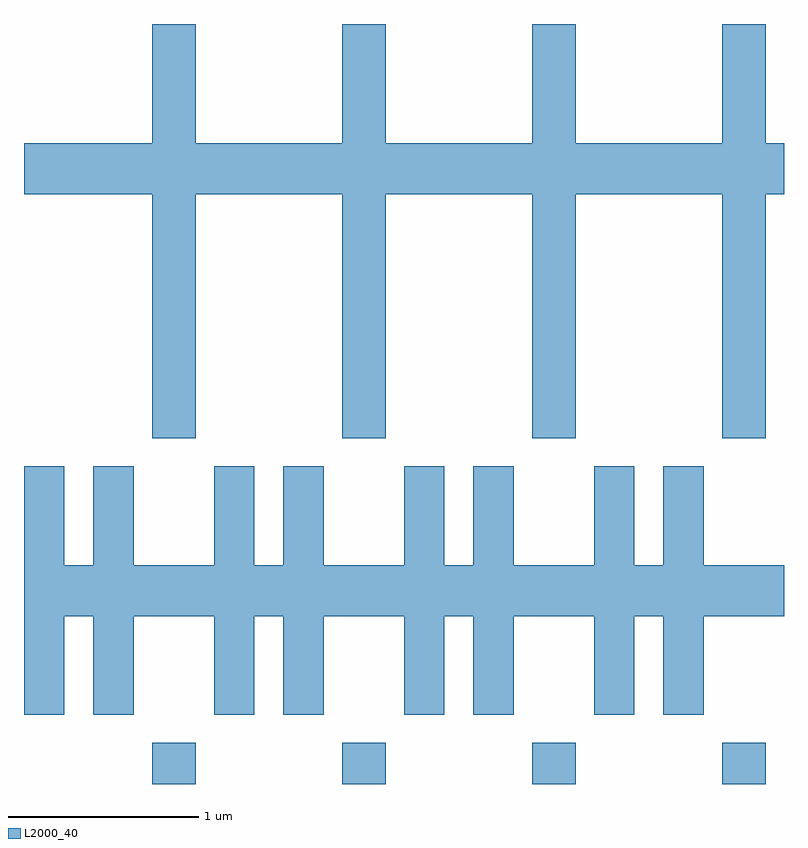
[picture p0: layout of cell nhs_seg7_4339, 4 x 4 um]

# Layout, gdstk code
import gdstk
lib = gdstk.Library(unit=1e-6, precision=1e-09)
def R(c, l, rs):  # rectangles x0, y0, x1, y1
    for r in rs: c.add(gdstk.rectangle(r[:2], r[2:], *l))
def A(c, l, x, y, w, h, nx, ny, dx, dy):  # array of equal rectangles
    R(c, l, [(x+i*dx, y+j*dy, x+i*dx+w, y+j*dy+h) for i in range(nx) for j in range(ny)])
def P(c, l, *ps):  # polygons
    for p in ps: c.add(gdstk.Polygon(p, *l))
L2000_40 = (2000, 40)

nhs_seg7_4339 = lib.new_cell('nhs_seg7_4339')
A(nhs_seg7_4339, L2000_40, 318.286, 1782.252, 0.228, 0.217, 4, 1, 1, 0)
P(nhs_seg7_4339, L2000_40, [(318.514,1785.356),(319.286,1785.356),(319.286,1784.071),(319.514,1784.071),(319.514,1785.356),(320.286,1785.356),(320.286,1784.071),(320.514,1784.071),(320.514,1785.356),(321.286,1785.356),(321.286,1784.071),(321.514,1784.071),(321.514,1785.356),(321.611,1785.356),(321.611,1785.624),(321.514,1785.624),(321.514,1786.252),(321.286,1786.252),(321.286,1785.624),(320.514,1785.624),(320.514,1786.252),(320.286,1786.252),(320.286,1785.624),(319.514,1785.624),(319.514,1786.252),(319.286,1786.252),(319.286,1785.624),(318.514,1785.624),(318.514,1786.252),(318.286,1786.252),(318.286,1785.624),(317.611,1785.624),(317.611,1785.356),(318.286,1785.356),(318.286,1784.071),(318.514,1784.071)],
  [(317.824,1783.136),(317.976,1783.136),(317.976,1782.616),(318.189,1782.616),(318.189,1783.136),(318.611,1783.136),(318.611,1782.616),(318.824,1782.616),(318.824,1783.136),(318.976,1783.136),(318.976,1782.616),(319.189,1782.616),(319.189,1783.136),(319.611,1783.136),(319.611,1782.616),(319.824,1782.616),(319.824,1783.136),(319.976,1783.136),(319.976,1782.616),(320.189,1782.616),(320.189,1783.136),(320.611,1783.136),(320.611,1782.616),(320.824,1782.616),(320.824,1783.136),(320.976,1783.136),(320.976,1782.616),(321.189,1782.616),(321.189,1783.136),(321.611,1783.136),(321.611,1783.404),(321.189,1783.404),(321.189,1783.924),(320.976,1783.924),(320.976,1783.404),(320.824,1783.404),(320.824,1783.924),(320.611,1783.924),(320.611,1783.404),(320.189,1783.404),(320.189,1783.924),(319.976,1783.924),(319.976,1783.404),(319.824,1783.404),(319.824,1783.924),(319.611,1783.924),(319.611,1783.404),(319.189,1783.404),(319.189,1783.924),(318.976,1783.924),(318.976,1783.404),(318.824,1783.404),(318.824,1783.924),(318.611,1783.924),(318.611,1783.404),(318.189,1783.404),(318.189,1783.924),(317.976,1783.924),(317.976,1783.404),(317.824,1783.404),(317.824,1783.924),(317.611,1783.924),(317.611,1782.616),(317.824,1782.616)])

lib.write_gds('nhs_seg7_4339.gds')
